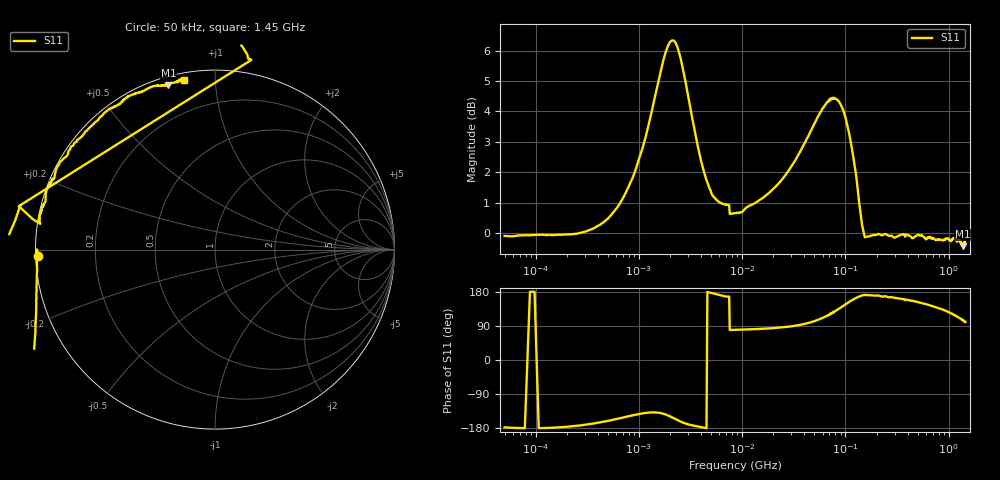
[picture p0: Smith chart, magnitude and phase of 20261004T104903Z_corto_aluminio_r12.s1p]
! piloto_corto / corto_aluminio / r12
# HZ S RI R 50
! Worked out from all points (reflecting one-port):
!   501 points, 50 kHz to 1.45 GHz, reference 50 ohm
!   lowest |S11| = -0.4 dB at 1.36 GHz (marker M1), VSWR 40.03, Z = 1.96 + j37.7 ohm
!   phase of S11 starts at -178 deg and turns -82 deg over the sweep
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50000  -0.9881 -0.0373
183000  -0.9926 -0.0493
363500  -0.9942 -0.2194
658000  -1.003 -0.4991
1180000  -1.105 -0.9458
1630000  -1.419 -1.185
1990000  -1.754 -1.081
2440000  -1.871 -0.6587
2800000  -1.744 -0.3895
3340000  -1.51 -0.1873
4690000  -1.199 0.0228
7300000  -1.084 0.2478
7750000  0.1994 1.056
8560000  0.1934 1.061
3.16e7  0.00357 1.306
4.69e7  -0.2601 1.456
6.85e7  -0.7658 1.455
7.93e7  -1.041 1.298
9.46e7  -1.264 0.9725
9.82e7  -1.289 0.8884
1e8  -1.297 0.8473
1.18e8  -1.26 0.4747
1.36e8  -1.092 0.2413
1.63e8  -0.975 0.1495
4.06e8  -0.9221 0.3669
8.74e8  -0.6654 0.7111
1.36e9  -0.2599 0.915
1.45e9  -0.1717 0.9442
